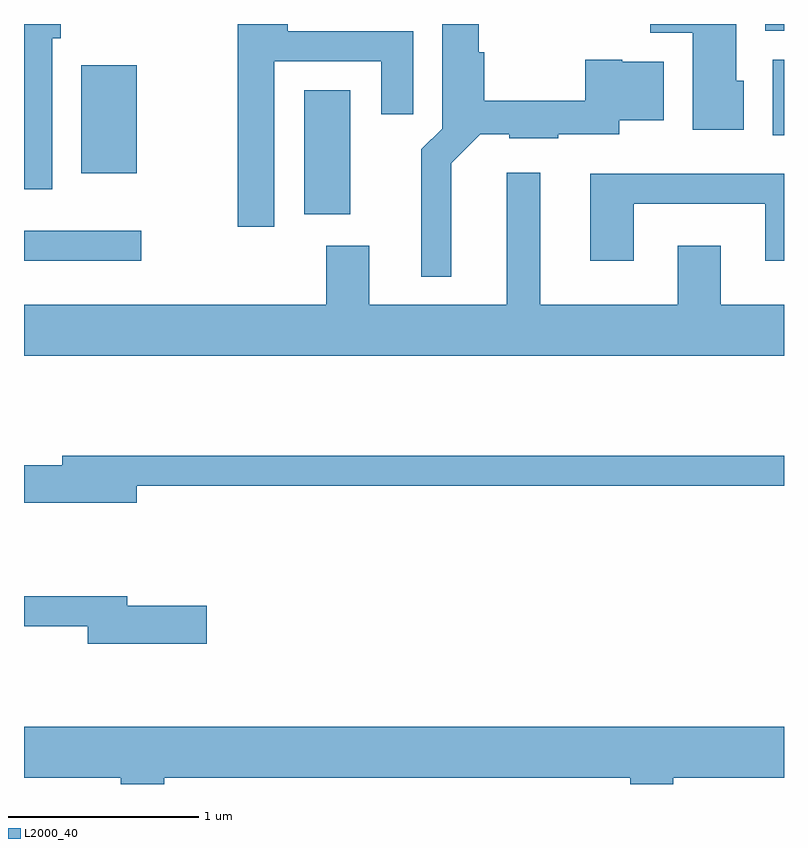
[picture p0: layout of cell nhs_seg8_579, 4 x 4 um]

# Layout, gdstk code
import gdstk
lib = gdstk.Library(unit=1e-6, precision=1e-09)
def R(c, l, rs):  # rectangles x0, y0, x1, y1
    for r in rs: c.add(gdstk.rectangle(r[:2], r[2:], *l))
def P(c, l, *ps):  # polygons
    for p in ps: c.add(gdstk.Polygon(p, *l))
L2000_40 = (2000, 40)

nhs_seg8_579 = lib.new_cell('nhs_seg8_579')
R(nhs_seg8_579, L2000_40, [(201.611,1879.096,202.228,1879.254), (203.086,1879.341,203.329,1879.994), (201.911,1879.556,202.204,1880.124), (205.551,1879.756,205.611,1880.154), (205.511,1880.306,205.611,1880.342)])
P(nhs_seg8_579, L2000_40, [(205.399,1880.044),(205.359,1880.044),(205.359,1880.342),(204.906,1880.342),(204.906,1880.296),(205.131,1880.296),(205.131,1879.786),(205.399,1879.786)],
  [(201.759,1880.266),(201.804,1880.266),(201.804,1880.342),(201.611,1880.342),(201.611,1879.471),(201.759,1879.471)],
  [(203.859,1879.609),(204.012,1879.761),(204.166,1879.761),(204.166,1879.741),(204.424,1879.741),(204.424,1879.761),(204.744,1879.761),(204.744,1879.836),(204.979,1879.836),(204.979,1880.144),(204.76,1880.144),(204.76,1880.154),(204.566,1880.154),(204.566,1879.939),(204.034,1879.939),(204.034,1880.194),(204.004,1880.194),(204.004,1880.342),(203.811,1880.342),(203.811,1879.792),(203.701,1879.682),(203.701,1879.013),(203.859,1879.013)],
  [(202.929,1880.146),(203.491,1880.146),(203.491,1879.868),(203.659,1879.868),(203.659,1880.304),(202.999,1880.304),(202.999,1880.342),(202.736,1880.342),(202.736,1879.276),(202.929,1879.276)],
  [(205.611,1878.864),(205.279,1878.864),(205.279,1879.174),(205.051,1879.174),(205.051,1878.864),(204.329,1878.864),(204.329,1879.559),(204.151,1879.559),(204.151,1878.864),(203.429,1878.864),(203.429,1879.174),(203.201,1879.174),(203.201,1878.864),(201.611,1878.864),(201.611,1878.596),(205.611,1878.596)],
  [(204.819,1879.396),(205.511,1879.396),(205.511,1879.096),(205.611,1879.096),(205.611,1879.554),(204.591,1879.554),(204.591,1879.096),(204.819,1879.096)],
  [(202.204,1877.911),(205.611,1877.911),(205.611,1878.069),(201.811,1878.069),(201.811,1878.019),(201.611,1878.019),(201.611,1877.821),(202.204,1877.821)],
  [(202.574,1877.279),(202.154,1877.279),(202.154,1877.329),(201.611,1877.329),(201.611,1877.171),(201.946,1877.171),(201.946,1877.081),(202.574,1877.081)],
  [(202.349,1876.376),(204.801,1876.376),(204.801,1876.342),(205.029,1876.342),(205.029,1876.376),(205.611,1876.376),(205.611,1876.644),(201.611,1876.644),(201.611,1876.376),(202.121,1876.376),(202.121,1876.342),(202.349,1876.342)])

lib.write_gds('nhs_seg8_579.gds')
